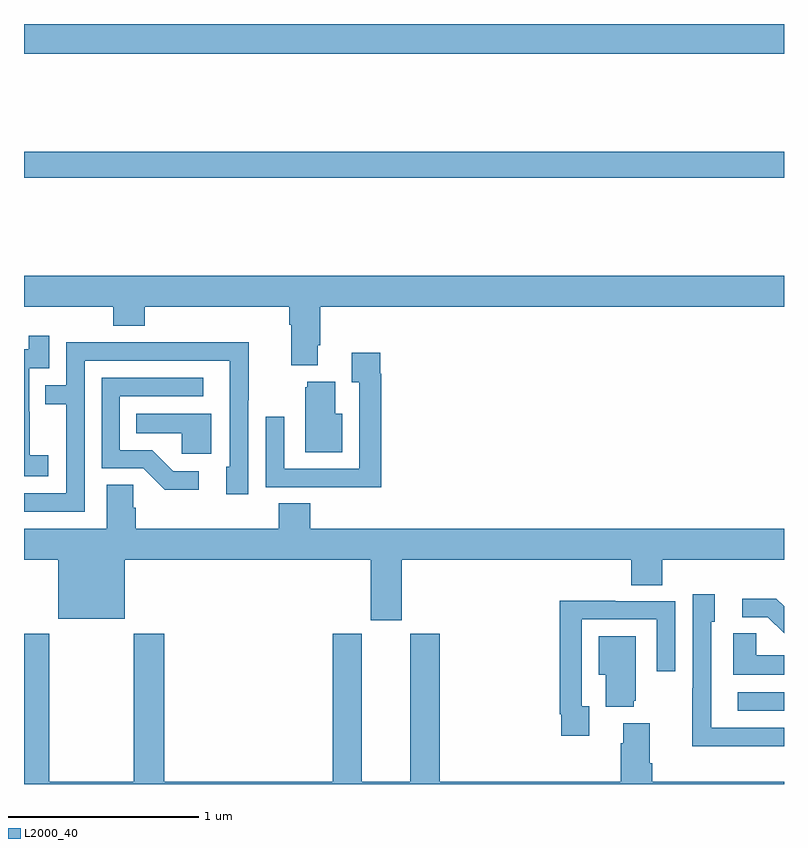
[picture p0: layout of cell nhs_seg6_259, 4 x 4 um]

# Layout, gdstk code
import gdstk
lib = gdstk.Library(unit=1e-6, precision=1e-09)
def R(c, l, rs):  # rectangles x0, y0, x1, y1
    for r in rs: c.add(gdstk.rectangle(r[:2], r[2:], *l))
def P(c, l, *ps):  # polygons
    for p in ps: c.add(gdstk.Polygon(p, *l))
L2000_40 = (2000, 40)

nhs_seg6_259 = lib.new_cell('nhs_seg6_259')
R(nhs_seg6_259, L2000_40, [(128.757,935.886,129,935.982), (125,938.692,129,938.828), (125,939.344,129,939.5)])
P(nhs_seg6_259, L2000_40, [(126.547,937.81),(126.56,937.81),(126.56,938.012),(129,938.012),(129,938.176),(125,938.176),(125,938.012),(125.471,938.012),(125.471,937.913),(125.636,937.913),(125.636,938.012),(126.395,938.012),(126.395,937.916),(126.407,937.916),(126.407,937.703),(126.547,937.703)],
  [(125.128,937.231),(125.03,937.231),(125.03,937.46),(125.028,937.46),(125.028,937.689),(125.133,937.689),(125.133,937.858),(125.025,937.858),(125.025,937.788),(125,937.788),(125,937.121),(125.128,937.121)],
  [(125.319,937.728),(126.083,937.728),(126.083,937.474),(126.084,937.474),(126.084,937.17),(126.065,937.17),(126.065,937.026),(126.18,937.026),(126.18,937.519),(126.183,937.519),(126.183,937.826),(125.719,937.826),(125.719,937.824),(125.223,937.824),(125.223,937.599),(125.113,937.599),(125.113,937.498),(125.223,937.498),(125.223,937.029),(125,937.029),(125,936.933),(125.319,936.933)],
  [(126.881,937.658),(126.874,937.658),(126.874,937.771),(126.725,937.771),(126.725,937.615),(126.765,937.615),(126.765,937.158),(126.369,937.158),(126.369,937.432),(126.273,937.432),(126.273,937.062),(126.589,937.062),(126.589,937.061),(126.881,937.061)],
  [(125.92,937.146),(125.785,937.146),(125.674,937.257),(125.505,937.257),(125.505,937.542),(125.944,937.542),(125.944,937.638),(125.409,937.638),(125.409,937.161),(125.628,937.161),(125.741,937.049),(125.92,937.049)],
  [(126.676,937.45),(126.637,937.45),(126.637,937.618),(126.491,937.618),(126.491,937.587),(126.479,937.587),(126.479,937.247),(126.676,937.247)],
  [(125.986,937.45),(125.59,937.45),(125.59,937.346),(125.829,937.346),(125.829,937.238),(125.986,937.238)],
  [(126.988,936.68),(128.195,936.68),(128.195,936.547),(128.36,936.547),(128.36,936.68),(129,936.68),(129,936.844),(126.506,936.844),(126.506,936.977),(126.341,936.977),(126.341,936.844),(125.588,936.844),(125.588,936.953),(125.574,936.953),(125.574,937.076),(125.435,937.076),(125.435,936.844),(125,936.844),(125,936.68),(125.18,936.68),(125.18,936.371),(125.53,936.371),(125.53,936.68),(126.824,936.68),(126.824,936.363),(126.988,936.363)],
  [(128.981,935.7),(129,935.7),(129,935.796),(128.616,935.796),(128.616,936.354),(128.635,936.354),(128.635,936.499),(128.52,936.499),(128.52,936.005),(128.518,936.005),(128.518,935.699),(128.981,935.699)],
  [(129,936.435),(128.959,936.476),(128.781,936.476),(128.781,936.378),(128.915,936.378),(129,936.293)],
  [(127.975,935.91),(127.935,935.91),(127.935,936.366),(128.331,936.366),(128.331,936.093),(128.427,936.093),(128.427,936.462),(128.111,936.462),(128.111,936.464),(127.819,936.464),(127.819,935.866),(127.827,935.866),(127.827,935.754),(127.975,935.754)],
  [(129,936.178),(128.853,936.178),(128.853,936.293),(128.732,936.293),(128.732,936.074),(129,936.074)],
  [(129,935.512),(128.306,935.512),(128.306,935.608),(128.293,935.608),(128.293,935.821),(128.153,935.821),(128.153,935.714),(128.141,935.714),(128.141,935.512),(127.187,935.512),(127.187,936.291),(127.034,936.291),(127.034,935.512),(126.778,935.512),(126.778,936.291),(126.626,936.291),(126.626,935.512),(125.738,935.512),(125.738,936.292),(125.578,936.292),(125.578,935.512),(125.133,935.512),(125.133,936.292),(125,936.292),(125,935.5),(129,935.5)],
  [(128.21,935.937),(128.221,935.937),(128.221,936.277),(128.024,936.277),(128.024,936.074),(128.063,936.074),(128.063,935.906),(128.21,935.906)])

lib.write_gds('nhs_seg6_259.gds')
